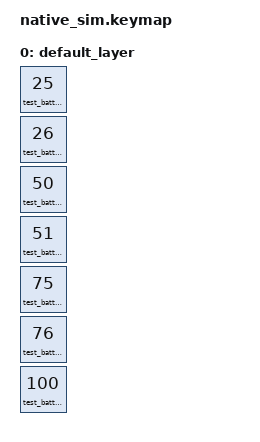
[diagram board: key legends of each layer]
#include <dt-bindings/zmk/keys.h>
#include <dt-bindings/zmk/kscan_mock.h>
#include <dt-bindings/zmk/led_matrix.h>
#include <dt-bindings/zmk/led_matrix_colors.h>
#include <dt-bindings/led/led.h>
#include <behaviors.dtsi>

/ {
    chosen {
        zmk,kscan = &kscan;
        zmk,led-matrix = &led_matrix;
    };

    behaviors {
        test_battery_state: test_battery_state {
            compatible = "zmk,behavior-raise-battery-state";
            #binding-cells = <1>;
        };
    };

    kscan: native_posix_64_kscan_mock {
        compatible = "zmk,kscan-mock";
        rows = <1>;
        columns = <7>;
        exit-after;
        events = <
            ZMK_MOCK_PRESS(0,0,10)
            ZMK_MOCK_RELEASE(0,0,20)
            ZMK_MOCK_PRESS(0,1,120)
            ZMK_MOCK_RELEASE(0,1,20)
            ZMK_MOCK_PRESS(0,2,120)
            ZMK_MOCK_RELEASE(0,2,20)
            ZMK_MOCK_PRESS(0,3,120)
            ZMK_MOCK_RELEASE(0,3,20)
            ZMK_MOCK_PRESS(0,4,120)
            ZMK_MOCK_RELEASE(0,4,20)
            ZMK_MOCK_PRESS(0,5,120)
            ZMK_MOCK_RELEASE(0,5,20)
            ZMK_MOCK_PRESS(0,6,120)
            ZMK_MOCK_RELEASE(0,6,20)
        >;
    };

    keymap {
        compatible = "zmk,keymap";

        default_layer {
            bindings = <
                &test_battery_state 25
                &test_battery_state 26
                &test_battery_state 50
                &test_battery_state 51
                &test_battery_state 75
                &test_battery_state 76
                &test_battery_state 100
            >;
        };
    };

    led_matrix_dev: led_matrix_dev {
        compatible = "zmk,led-mock";
        mode = "color";

        led_0 { index = <0>; color-mapping = <LED_COLOR_ID_GREEN LED_COLOR_ID_RED LED_COLOR_ID_BLUE>; };
        led_1 { index = <1>; color-mapping = <LED_COLOR_ID_GREEN LED_COLOR_ID_RED LED_COLOR_ID_BLUE>; };
        led_2 { index = <2>; color-mapping = <LED_COLOR_ID_GREEN LED_COLOR_ID_RED LED_COLOR_ID_BLUE>; };
        led_3 { index = <3>; color-mapping = <LED_COLOR_ID_GREEN LED_COLOR_ID_RED LED_COLOR_ID_BLUE>; };
    };

    led_matrix: led_matrix {
        compatible = "zmk,led-matrix";
        led-driver = "matrix";
        led-device = <&led_matrix_dev>;
        led-count = <4>;
        status-timeout-ms = <300>;
        battery-timeout-ms = <300>;
        battery-leds = <0 1 2 3>;
        battery-level-colors = <LM_RED LM_ORANGE LM_YELLOW LM_GREEN>;
        battery-color-off = <LM_BLACK>;
        matrix-led-grid = <
            0 1 2 3 LM_NOLED LM_NOLED LM_NOLED
        >;

        profile0 {
            profile-id = <0>;
            display-name = "Battery 4 Step";
            renderer = "solid";
            colors = <LM_BLACK>;
            brightness = <100>;
            period-ms = <1000>;
        };
    };
};
